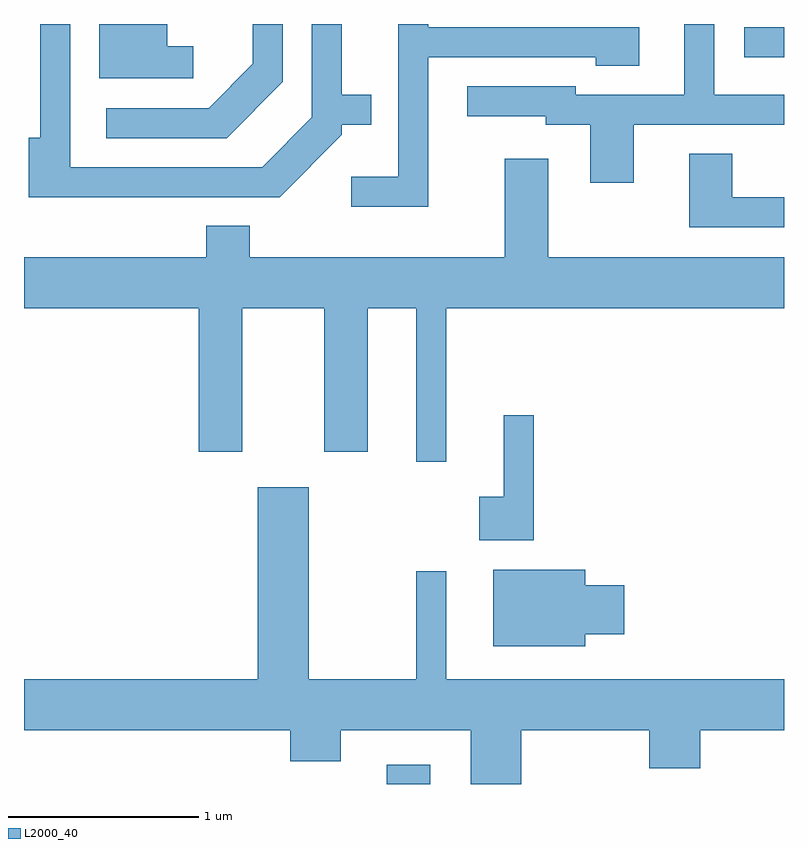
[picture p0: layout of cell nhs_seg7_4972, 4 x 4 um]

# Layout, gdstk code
import gdstk
lib = gdstk.Library(unit=1e-6, precision=1e-09)
def R(c, l, rs):  # rectangles x0, y0, x1, y1
    for r in rs: c.add(gdstk.rectangle(r[:2], r[2:], *l))
def P(c, l, *ps):  # polygons
    for p in ps: c.add(gdstk.Polygon(p, *l))
L2000_40 = (2000, 40)

nhs_seg7_4972 = lib.new_cell('nhs_seg7_4972')
R(nhs_seg7_4972, L2000_40, [(339.521,1716.252,339.749,1716.354), (341.403,1720.076,341.611,1720.234)])
P(nhs_seg7_4972, L2000_40, [(338.974,1719.949),(338.974,1720.252),(338.816,1720.252),(338.816,1720.042),(338.584,1719.809),(338.043,1719.809),(338.043,1719.651),(338.677,1719.651)],
  [(339.739,1720.076),(340.621,1720.076),(340.621,1720.031),(340.849,1720.031),(340.849,1720.234),(339.739,1720.234),(339.739,1720.252),(339.581,1720.252),(339.581,1719.449),(339.333,1719.449),(339.333,1719.291),(339.739,1719.291)],
  [(339.284,1719.669),(339.284,1719.721),(339.438,1719.721),(339.438,1719.879),(339.284,1719.879),(339.284,1720.252),(339.126,1720.252),(339.126,1719.762),(338.864,1719.499),(337.854,1719.499),(337.854,1720.252),(337.696,1720.252),(337.696,1719.654),(337.636,1719.654),(337.636,1719.341),(338.957,1719.341)],
  [(340.819,1719.721),(341.611,1719.721),(341.611,1719.879),(341.244,1719.879),(341.244,1720.252),(341.086,1720.252),(341.086,1719.879),(340.514,1719.879),(340.514,1719.924),(339.943,1719.924),(339.943,1719.766),(340.356,1719.766),(340.356,1719.721),(340.591,1719.721),(340.591,1719.416),(340.819,1719.416)],
  [(338.503,1720.134),(338.364,1720.134),(338.364,1720.252),(338.006,1720.252),(338.006,1719.966),(338.503,1719.966)],
  [(341.611,1719.339),(341.339,1719.339),(341.339,1719.569),(341.111,1719.569),(341.111,1719.181),(341.611,1719.181)],
  [(339.834,1718.756),(341.611,1718.756),(341.611,1719.024),(340.369,1719.024),(340.369,1719.544),(340.141,1719.544),(340.141,1719.024),(338.799,1719.024),(338.799,1719.189),(338.571,1719.189),(338.571,1719.024),(337.611,1719.024),(337.611,1718.756),(338.531,1718.756),(338.531,1718.001),(338.759,1718.001),(338.759,1718.756),(339.191,1718.756),(339.191,1718.001),(339.419,1718.001),(339.419,1718.756),(339.676,1718.756),(339.676,1717.948),(339.834,1717.948)],
  [(340.294,1718.193),(340.136,1718.193),(340.136,1717.764),(340.006,1717.764),(340.006,1717.536),(340.294,1717.536)],
  [(340.229,1716.536),(340.901,1716.536),(340.901,1716.336),(341.169,1716.336),(341.169,1716.536),(341.611,1716.536),(341.611,1716.804),(339.834,1716.804),(339.834,1717.373),(339.676,1717.373),(339.676,1716.804),(339.109,1716.804),(339.109,1717.814),(338.841,1717.814),(338.841,1716.804),(337.611,1716.804),(337.611,1716.536),(339.011,1716.536),(339.011,1716.371),(339.279,1716.371),(339.279,1716.536),(339.961,1716.536),(339.961,1716.252),(340.229,1716.252)],
  [(340.564,1717.041),(340.769,1717.041),(340.769,1717.299),(340.564,1717.299),(340.564,1717.379),(340.081,1717.379),(340.081,1716.976),(340.564,1716.976)])

lib.write_gds('nhs_seg7_4972.gds')
